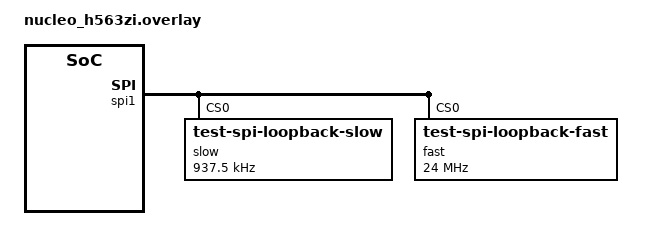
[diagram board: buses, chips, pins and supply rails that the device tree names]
/*
 * Copyright (c) 2024 Marcin Niestroj
 *
 * SPDX-License-Identifier: Apache-2.0
 */

&spi1 {
	slow@0 {
		compatible = "test-spi-loopback-slow";
		reg = <0>;
		spi-max-frequency = <937500>;
	};
	fast@0 {
		compatible = "test-spi-loopback-fast";
		reg = <0>;
		spi-max-frequency = <24000000>;
	};
};
